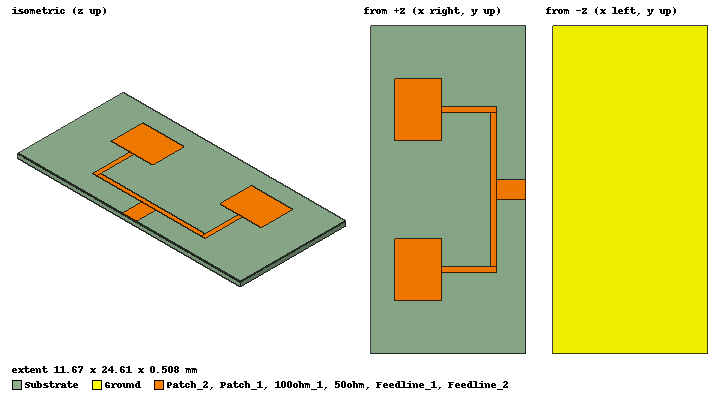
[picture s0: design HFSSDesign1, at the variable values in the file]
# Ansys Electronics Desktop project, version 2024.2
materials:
  vacuum: permittivity=1
  Rogers RT/duroid 5880 (tm): permittivity=2.2 dielectric_loss_tangent=0.0009

design HFSSDesign1 (HFSS, HFSS Terminal Network, model units mm)
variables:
  Lg = 11.67mm
  Wg = 24.61mm
  Hs = 0.508mm
  Ls = 11.67mm
  Ws = 24.61mm
  Wf = 1.565mm
  Lf = 2.2mm
  Lp = 3.51mm
  Wp = 4.591mm
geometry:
  Ground = rectangle(corner=(-Lg/2, -Wg/2, 0mm), x_size=Lg, y_size=Wg)
  Substrate [Rogers RT/duroid 5880 (tm)] = box(corner=(-Lg/2, -Wg/2, 0), size=(Ls, Ws, Hs))
  50ohm = rectangle(corner=(Ls/2 - Lf, -Wf/2, Hs), x_size=Lf, y_size=Wf)
  100ohm_1 = rectangle(corner=(Ls/2 - Lf - 0.455mm, -11.545mm/2, Hs), x_size=0.455mm, y_size=11.545mm)
  Patch_1 = rectangle(corner=(-4mm, -11.545mm/2 - Wp/2 - 0.455mm/2, Hs), x_size=Lp, y_size=Wp)
  Patch_2 = rectangle(corner=(-4mm, 11.545mm/2 - Wp/2 + 0.455mm/2, Hs), x_size=Lp, y_size=Wp)
  Feedline_1 = rectangle(corner=(3.635mm, -0.455mm-11.545mm/2, 0.508mm), x_size=-4.135mm, y_size=0.455mm)
  Feedline_2 = rectangle(corner=(3.635mm, 11.545mm/2, 0.508mm), x_size=-4.135mm, y_size=0.455mm)
